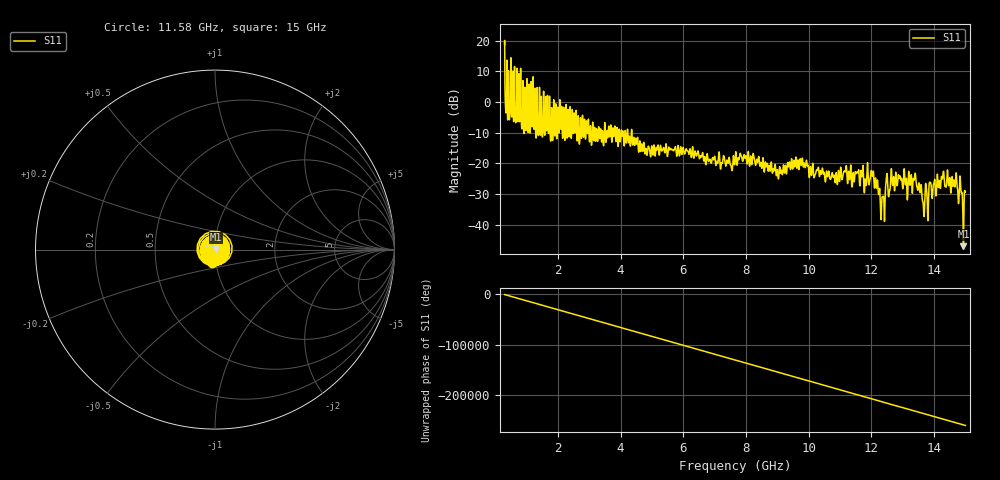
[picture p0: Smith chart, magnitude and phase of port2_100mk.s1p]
# GHZ S RI R 50.0
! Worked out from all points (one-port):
!   12801 points, 300 MHz to 15 GHz, reference 50 ohm
!   lowest |S11| = -47.0 dB at 14.94 GHz (marker M1), VSWR 1.01, Z = 50.4 + j0.261 ohm
!   |S11| at or under -10 dB: 4.085 GHz to 4.142 GHz (56.84 MHz wide, 1.38 % of centre); 4.231 GHz to 4.343 GHz (111.2 MHz wide, 2.59 % of centre); 4.361 GHz to end of sweep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
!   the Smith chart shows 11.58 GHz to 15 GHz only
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0.3  -4.423 -7.469
0.3757969  3.224 -1.294
0.3826875  -1.17 -0.3504
0.4240313  -2.857 1.558
0.4309219  1.28 -0.2991
0.4424063  -0.5918 0.2512
0.4492969  0.2949 0.436
0.7536328  0.4747 2.174
0.9121172  -0.3056 -0.0608
1.206117  -0.1108 1.774
1.316367  0.0383 -0.3149
2.1375  -0.0974 0.3273
3.975  0.0703 0.2421
5.8125  0.1321 0.0774
7.65  0.0418 -0.0957
9.028125  -0.0073 0.0566
9.4875  -0.0507 -0.0633
11.325  -0.0603 0.0365
12.01636  -0.0634 0.0178
12.35859  -0.0282 -0.00193
12.65259  0.0529 -0.035
13.1625  0.0243 0.0211
13.39563  0.0458 -0.0516
13.73902  0.0109 -0.045
14.24777  -0.0513 -0.0279
14.64398  -0.0182 0.0431
14.93798  0.00366 0.00259
15  0.0332 -0.011
